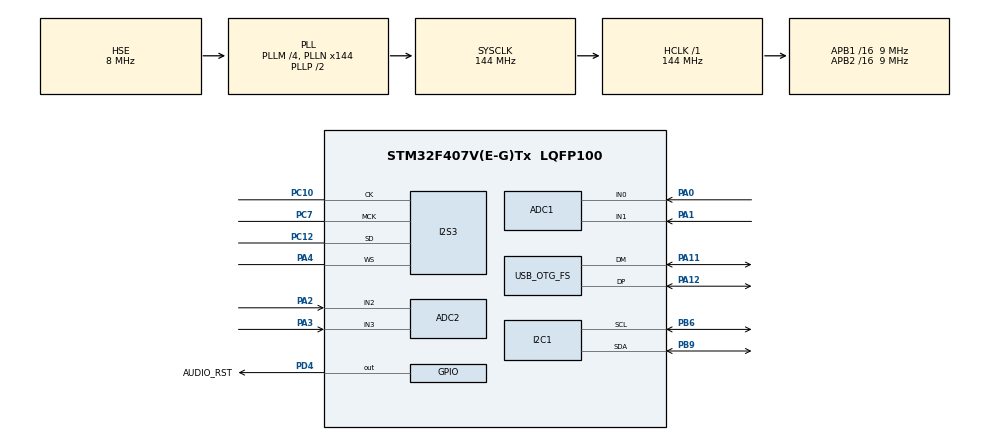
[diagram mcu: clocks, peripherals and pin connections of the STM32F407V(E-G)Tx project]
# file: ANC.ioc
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ADC1.Channel-8\#ChannelRegularConversion=ADC_CHANNEL_0
ADC1.Channel-9\#ChannelRegularConversion=ADC_CHANNEL_1
ADC1.ClockPrescaler=ADC_CLOCK_SYNC_PCLK_DIV8
ADC1.ContinuousConvMode=ENABLE
ADC1.DMAContinuousRequests=ENABLE
ADC1.NbrOfConversion=2
ADC1.NbrOfConversionFlag=1
ADC1.Rank-8\#ChannelRegularConversion=1
ADC1.Rank-9\#ChannelRegularConversion=2
ADC1.SamplingTime-8\#ChannelRegularConversion=ADC_SAMPLETIME_3CYCLES
ADC1.SamplingTime-9\#ChannelRegularConversion=ADC_SAMPLETIME_3CYCLES
ADC1.master=1
ADC2.Channel-2\#ChannelRegularConversion=ADC_CHANNEL_2
ADC2.Channel-3\#ChannelRegularConversion=ADC_CHANNEL_3
ADC2.ClockPrescaler=ADC_CLOCK_SYNC_PCLK_DIV8
ADC2.ContinuousConvMode=ENABLE
ADC2.DMAContinuousRequests=ENABLE
ADC2.NbrOfConversion=2
ADC2.NbrOfConversionFlag=1
ADC2.Rank-2\#ChannelRegularConversion=1
ADC2.Rank-3\#ChannelRegularConversion=2
ADC2.SamplingTime-2\#ChannelRegularConversion=ADC_SAMPLETIME_3CYCLES
ADC2.SamplingTime-3\#ChannelRegularConversion=ADC_SAMPLETIME_3CYCLES
ADC2.ScanConvMode=ENABLE
Dma.ADC1.1.Direction=DMA_PERIPH_TO_MEMORY
Dma.ADC1.1.FIFOMode=DMA_FIFOMODE_DISABLE
Dma.ADC1.1.Instance=DMA2_Stream0
Dma.ADC1.1.MemDataAlignment=DMA_MDATAALIGN_WORD
Dma.ADC1.1.MemInc=DMA_MINC_ENABLE
Dma.ADC1.1.Mode=DMA_CIRCULAR
Dma.ADC1.1.PeriphDataAlignment=DMA_PDATAALIGN_WORD
Dma.ADC1.1.PeriphInc=DMA_PINC_DISABLE
Dma.ADC1.1.Priority=DMA_PRIORITY_LOW
Dma.ADC2.2.Direction=DMA_PERIPH_TO_MEMORY
Dma.ADC2.2.FIFOMode=DMA_FIFOMODE_DISABLE
Dma.ADC2.2.Instance=DMA2_Stream2
Dma.ADC2.2.MemDataAlignment=DMA_MDATAALIGN_WORD
Dma.ADC2.2.MemInc=DMA_MINC_ENABLE
Dma.ADC2.2.Mode=DMA_CIRCULAR
Dma.ADC2.2.PeriphDataAlignment=DMA_PDATAALIGN_WORD
Dma.ADC2.2.PeriphInc=DMA_PINC_DISABLE
Dma.ADC2.2.Priority=DMA_PRIORITY_LOW
Dma.Request0=SPI3_TX
Dma.Request1=ADC1
Dma.Request2=ADC2
Dma.SPI3_TX.0.Direction=DMA_MEMORY_TO_PERIPH
Dma.SPI3_TX.0.FIFOMode=DMA_FIFOMODE_ENABLE
Dma.SPI3_TX.0.FIFOThreshold=DMA_FIFO_THRESHOLD_FULL
Dma.SPI3_TX.0.Instance=DMA1_Stream5
Dma.SPI3_TX.0.MemBurst=DMA_MBURST_SINGLE
Dma.SPI3_TX.0.MemDataAlignment=DMA_MDATAALIGN_HALFWORD
Dma.SPI3_TX.0.MemInc=DMA_MINC_ENABLE
Dma.SPI3_TX.0.Mode=DMA_CIRCULAR
Dma.SPI3_TX.0.PeriphBurst=DMA_PBURST_SINGLE
Dma.SPI3_TX.0.PeriphDataAlignment=DMA_PDATAALIGN_HALFWORD
Dma.SPI3_TX.0.PeriphInc=DMA_PINC_DISABLE
Dma.SPI3_TX.0.Priority=DMA_PRIORITY_LOW
I2S3.AudioFreq=I2S_AUDIOFREQ_44K
I2S3.ErrorAudioFreq=10.97 %
I2S3.FullDuplexMode=I2S_FULLDUPLEXMODE_DISABLE
I2S3.Instance=SPI$Index
I2S3.RealAudioFreq=48.828 KHz
I2S3.VirtualMode=I2S_MODE_MASTER
Mcu.Family=STM32F4
Mcu.Name=STM32F407V(E-G)Tx
Mcu.Package=LQFP100
NVIC.DMA1_Stream5_IRQn=true\:0\:0\:false\:false\:true\:false\:true\:true
NVIC.DMA2_Stream0_IRQn=true\:0\:0\:false\:false\:true\:false\:true\:true
NVIC.DMA2_Stream2_IRQn=true\:0\:0\:false\:false\:true\:false\:true\:true
NVIC.OTG_FS_IRQn=true\:0\:0\:false\:false\:true\:false\:true\:true
NVIC.PriorityGroup=NVIC_PRIORITYGROUP_0
PA0-WKUP.Signal=ADCx_IN0
PA1.Signal=ADCx_IN1
PA11.Mode=Device_Only
PA11.Signal=USB_OTG_FS_DM
PA12.Mode=Device_Only
PA12.Signal=USB_OTG_FS_DP
PA2.Signal=ADCx_IN2
PA3.Signal=ADCx_IN3
PA4.Mode=Half_Duplex_Master
PA4.Signal=I2S3_WS
PB6.Mode=I2C
PB6.Signal=I2C1_SCL
PB9.Mode=I2C
PB9.Signal=I2C1_SDA
PC10.Mode=Half_Duplex_Master
PC10.Signal=I2S3_CK
PC12.Mode=Half_Duplex_Master
PC12.Signal=I2S3_SD
PC7.Mode=Master_Clock_Activated
PC7.Signal=I2S3_MCK
PD4.GPIO_Label=AUDIO_RST
PD4.Signal=GPIO_Output
PH0-OSC_IN.Mode=HSE-External-Oscillator
PH0-OSC_IN.Signal=RCC_OSC_IN
PH1-OSC_OUT.Mode=HSE-External-Oscillator
PH1-OSC_OUT.Signal=RCC_OSC_OUT
ProjectManager.HeapSize=0x200
ProjectManager.StackSize=0x400
ProjectManager.TargetToolchain=STM32CubeIDE
RCC.48MHZClocksFreq_Value=48000000
RCC.AHBFreq_Value=144000000
RCC.APB1CLKDivider=RCC_HCLK_DIV16
RCC.APB1Freq_Value=9000000
RCC.APB1TimFreq_Value=18000000
RCC.APB2CLKDivider=RCC_HCLK_DIV16
RCC.APB2Freq_Value=9000000
RCC.APB2TimFreq_Value=18000000
RCC.CortexFreq_Value=144000000
RCC.HCLKFreq_Value=144000000
RCC.HSE_VALUE=8000000
RCC.HSI_VALUE=16000000
RCC.LSE_VALUE=32768
RCC.PLLI2SN=50
RCC.PLLM=4
RCC.PLLN=144
RCC.PLLQ=6
RCC.SYSCLKFreq_VALUE=144000000
RCC.SYSCLKSource=RCC_SYSCLKSOURCE_PLLCLK
RCC.VCOOutputFreq_Value=288000000
SH.ADCx_IN0.0=ADC1_IN0,IN0
SH.ADCx_IN1.0=ADC1_IN1,IN1
SH.ADCx_IN2.0=ADC2_IN2,IN2
SH.ADCx_IN3.0=ADC2_IN3,IN3
USB_DEVICE.CLASS_NAME_FS=CDC
USB_DEVICE.VirtualMode-CDC_FS=Cdc
USB_DEVICE.VirtualModeFS=Cdc_FS
USB_OTG_FS.VirtualMode=Device_Only
VP_USB_DEVICE_VS_USB_DEVICE_CDC_FS.Mode=CDC_FS
board=STM32F407G-DISC1

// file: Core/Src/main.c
/* USER CODE BEGIN Header */
/**
  ******************************************************************************
  * @file           : main.c
  * @brief          : Main program body
  ******************************************************************************
  * @attention
  *
  * Copyright (c) 2022 STMicroelectronics.
  * All rights reserved.
  *
  * This software is licensed under terms that can be found in the LICENSE file
  * in the root directory of this software component.
  * If no LICENSE file comes with this software, it is provided AS-IS.
  *
  ******************************************************************************
  */
/* USER CODE END Header */
#include "main.h"
#include "usb_device.h"

/* USER CODE BEGIN Includes */
#include "usbd_cdc_if.h"

//defines for DAC (headphones)
#define AUDIO_I2C_ADDR	0x94 //address of built in amplifier
uint16_t i2s_data[2]; // array which will be send by i2s (stereo)
//defines for ADC (microphones)

uint32_t buffer[2]; //buffer for adc_1
uint32_t Outside_buffer[2]; //buffer for adc_2

char data[10] = "ua";

int32_t adc_val[4]; // taking values from buffers to calculating in the begining of the loop
int32_t audio[4]; //values worked on
//Later change for Left and Right [0],[1] inside [2],[3] outside

/* USER CODE END Includes */

ADC_HandleTypeDef hadc1;
ADC_HandleTypeDef hadc2;
DMA_HandleTypeDef hdma_adc1;
DMA_HandleTypeDef hdma_adc2;

I2C_HandleTypeDef hi2c1;

I2S_HandleTypeDef hi2s3;
DMA_HandleTypeDef hdma_spi3_tx;

void SystemClock_Config(void);
static void MX_GPIO_Init(void);
static void MX_DMA_Init(void);
static void MX_I2S3_Init(void);
static void MX_I2C1_Init(void);
static void MX_ADC1_Init(void);
static void MX_ADC2_Init(void);
/* USER CODE BEGIN PFP */

//void HAL_ADC_ConvCpltCallback(ADC_HandleTypeDef* hadc)
//{
//	adc_val[0] = buffer[0];
//	adc_val[1] = buffer[1]; 	//[0],[1] -> inside (microphones inside headphones earcup)
//
//	adc_val[2] = Outside_buffer[0];
//	adc_val[3] = Outside_buffer[1]; 	//[2], [3] -> outside (microphones outside headphones earcup)
//	//need to check if 0 or 1 is left or right
//}

static void cs43l22_write(uint8_t reg, uint8_t value) //writing value to configurate cs43l22
{
	HAL_I2C_Mem_Write(&hi2c1, AUDIO_I2C_ADDR, reg, 1, &value, sizeof(value), HAL_MAX_DELAY);
}

static void cs43l22_init() //setting up amp
{
	HAL_GPIO_WritePin(AUDIO_RST_GPIO_Port, AUDIO_RST_Pin, GPIO_PIN_SET);

	cs43l22_write(0x04, 0xaf);
	cs43l22_write(0x06, 0x07);
	cs43l22_write(0x02, 0x9e);
}

/* USER CODE END PFP */

int main(void)
{

  /* MCU Configuration--------------------------------------------------------*/

  /* Reset of all peripherals, Initializes the Flash interface and the Systick. */
  HAL_Init();

  /* Configure the system clock */
  SystemClock_Config();

  /* Initialize all configured peripherals */
  MX_GPIO_Init();
  MX_DMA_Init();
  MX_I2S3_Init();
  MX_I2C1_Init();
  MX_ADC1_Init();
  MX_ADC2_Init();
  MX_USB_DEVICE_Init();

  /* Infinite loop */
  /* USER CODE BEGIN WHILE */

  cs43l22_init();
  HAL_ADC_Start_DMA(&hadc1, &buffer, 2);
  HAL_ADC_Start_DMA(&hadc2, &Outside_buffer, 2);

  /* variables for the filter */                  // filter lenght
  const float l = 0.9999;
  float y_l, y_r, e_l, e_r;

  float x_l[5] = {0,0,0,0,0};
  float w_l[5] = {0,0,0,0,0};
  float S_l[5][5] = {{100,0,0,0,0},
                     {0,100,0,0,0},
                     {0,0,100,0,0},
                     {0,0,0,100,0},
                     {0,0,0,0,100}};

  float psi_l[5] = {0,0,0,0,0};
  float inner_l = 0;
  float outer_psi_l[5][5] = {{0,0,0,0,0},
                             {0,0,0,0,0},
                             {0,0,0,0,0},
                             {0,0,0,0,0},
                             {0,0,0,0,0}};

  float x_r[5] = {0,0,0,0,0};
  float w_r[5] = {0,0,0,0,0};
  float S_r[5][5] = {{100,0,0,0,0},
                     {0,100,0,0,0},
                     {0,0,100,0,0},
                     {0,0,0,100,0},
                     {0,0,0,0,100}};

  float psi_r[5] = {0,0,0,0,0};
  float inner_r = 0;
  float outer_psi_r[5][5] = {{0,0,0,0,0},
                             {0,0,0,0,0},
                             {0,0,0,0,0},
                             {0,0,0,0,0},
                             {0,0,0,0,0}};

  while (1)
  {
	  for(int i =0; i<2; i++)
	  {
		  audio[i] = ((buffer[i] - 2048) << 4); // conversion first ADC return only positive value, while i2s accept negative so we need to remove half of the value, second conversion 12bit -> 16 bit
		  audio[i+2] = ((Outside_buffer[i]-2048) <<4);
	  }
	  //PLACE FOR FILTER
    /*
    audio[0] -> error left channel
    audio[1] -> error right channel
    audio[2] -> noise left channel
    audio[3]-> noise right channel
    */

    // insert new sample
    for(int i = 4; i > 0; i--){
        x_l[i] = x_l[i - 1];
        x_r[i] = x_r[i - 1];
    }
    x_l[0] = audio[2];
    x_r[0] = audio[3];

    // estimate filter output
    y_l = y_r = 0;

    for(int i = 0; i < 5; i++){
        y_l+=x_l[i]*w_l[i];
        y_r+=x_r[i]*w_r[i];
    }
    e_l = audio[0] - y_l;
    e_r = audio[0] - y_r;

    // update filter coefficient
    inner_l = inner_r = 0;

    for(int i = 0; i < 5; i++){
      psi_l[i] = 0;
      psi_r[i] = 0;
        for(int j = 0; j < 5; j++){
            psi_l[i]+=S_l[i][j]*x_l[j];   // psi = S@x
            psi_r[i]+=S_r[i][j]*x_r[j];
        }
        inner_l += psi_l[i]*x_l[i]; // inner
        inner_r += psi_r[i]*x_r[i];
    }

    for(int i = 0; i < 5; i++){
        for(int j=0;j<5;j++){
            outer_psi_l[i][j] = psi_l[i] * psi_l[j] / (inner_l + l);   // outer = outer/(l+inner)
            S_l[i][j] = (S_l[i][j] - outer_psi_l[i][j])/l;               // S = (S - outer)/l
            w_l[i]+=S_l[i][j]*x_l[j]*e_l;                                  // w += e * (S@x)

            outer_psi_r[i][j] = psi_r[i] * psi_r[j] / (inner_r + l);   // outer = outer/(l+inner)
            S_r[i][j] = (S_r[i][j] - outer_psi_r[i][j])/l;               // S = (S - outer)/l
            w_r[i]+=S_r[i][j]*x_r[j]*e_r;
        }
    }

	  //PLACE FOR FILTER ENDED
	  i2s_data[0] = audio[2]; //inserting samples to array sent to amplifier
	  i2s_data[1] = audio[3];
	  HAL_I2S_Transmit_DMA(&hi2s3,  i2s_data, 2); //transmit data to cs43122
	  CDC_Transmit_FS((uint8_t *) i2s_data, strlen(i2s_data)); //dokonczyc
	  HAL_Delay(100); //wywalic
    /* USER CODE END WHILE */

  }
}

void SystemClock_Config(void)
{
  RCC_OscInitTypeDef RCC_OscInitStruct = {0};
  RCC_ClkInitTypeDef RCC_ClkInitStruct = {0};

  /** Configure the main internal regulator output voltage
  */
  __HAL_RCC_PWR_CLK_ENABLE();
  __HAL_PWR_VOLTAGESCALING_CONFIG(PWR_REGULATOR_VOLTAGE_SCALE1);

  /** Initializes the RCC Oscillators according to the specified parameters
  * in the RCC_OscInitTypeDef structure.
  */
  RCC_OscInitStruct.OscillatorType = RCC_OSCILLATORTYPE_HSE;
  RCC_OscInitStruct.HSEState = RCC_HSE_ON;
  RCC_OscInitStruct.PLL.PLLState = RCC_PLL_ON;
  RCC_OscInitStruct.PLL.PLLSource = RCC_PLLSOURCE_HSE;
  RCC_OscInitStruct.PLL.PLLM = 4;
  RCC_OscInitStruct.PLL.PLLN = 144;
  RCC_OscInitStruct.PLL.PLLP = RCC_PLLP_DIV2;
  RCC_OscInitStruct.PLL.PLLQ = 6;
  if (HAL_RCC_OscConfig(&RCC_OscInitStruct) != HAL_OK)
  {
    Error_Handler();
  }

  /** Initializes the CPU, AHB and APB buses clocks
  */
  RCC_ClkInitStruct.ClockType = RCC_CLOCKTYPE_HCLK|RCC_CLOCKTYPE_SYSCLK
                              |RCC_CLOCKTYPE_PCLK1|RCC_CLOCKTYPE_PCLK2;
  RCC_ClkInitStruct.SYSCLKSource = RCC_SYSCLKSOURCE_PLLCLK;
  RCC_ClkInitStruct.AHBCLKDivider = RCC_SYSCLK_DIV1;
  RCC_ClkInitStruct.APB1CLKDivider = RCC_HCLK_DIV16;
  RCC_ClkInitStruct.APB2CLKDivider = RCC_HCLK_DIV16;

  if (HAL_RCC_ClockConfig(&RCC_ClkInitStruct, FLASH_LATENCY_4) != HAL_OK)
  {
    Error_Handler();
  }
}

static void MX_ADC1_Init(void)
{

  ADC_ChannelConfTypeDef sConfig = {0};

  /** Configure the global features of the ADC (Clock, Resolution, Data Alignment and number of conversion)
  */
  hadc1.Instance = ADC1;
  hadc1.Init.ClockPrescaler = ADC_CLOCK_SYNC_PCLK_DIV8;
  hadc1.Init.Resolution = ADC_RESOLUTION_12B;
  hadc1.Init.ScanConvMode = ENABLE;
  hadc1.Init.ContinuousConvMode = ENABLE;
  hadc1.Init.DiscontinuousConvMode = DISABLE;
  hadc1.Init.ExternalTrigConvEdge = ADC_EXTERNALTRIGCONVEDGE_NONE;
  hadc1.Init.ExternalTrigConv = ADC_SOFTWARE_START;
  hadc1.Init.DataAlign = ADC_DATAALIGN_RIGHT;
  hadc1.Init.NbrOfConversion = 2;
  hadc1.Init.DMAContinuousRequests = ENABLE;
  hadc1.Init.EOCSelection = ADC_EOC_SINGLE_CONV;
  if (HAL_ADC_Init(&hadc1) != HAL_OK)
  {
    Error_Handler();
  }

  /** Configure for the selected ADC regular channel its corresponding rank in the sequencer and its sample time.
  */
  sConfig.Channel = ADC_CHANNEL_0;
  sConfig.Rank = 1;
  sConfig.SamplingTime = ADC_SAMPLETIME_3CYCLES;
  if (HAL_ADC_ConfigChannel(&hadc1, &sConfig) != HAL_OK)
  {
    Error_Handler();
  }

  /** Configure for the selected ADC regular channel its corresponding rank in the sequencer and its sample time.
  */
  sConfig.Channel = ADC_CHANNEL_1;
  sConfig.Rank = 2;
  if (HAL_ADC_ConfigChannel(&hadc1, &sConfig) != HAL_OK)
  {
    Error_Handler();
  }

}

static void MX_ADC2_Init(void)
{

  ADC_ChannelConfTypeDef sConfig = {0};

  /** Configure the global features of the ADC (Clock, Resolution, Data Alignment and number of conversion)
  */
  hadc2.Instance = ADC2;
  hadc2.Init.ClockPrescaler = ADC_CLOCK_SYNC_PCLK_DIV8;
  hadc2.Init.Resolution = ADC_RESOLUTION_12B;
  hadc2.Init.ScanConvMode = ENABLE;
  hadc2.Init.ContinuousConvMode = ENABLE;
  hadc2.Init.DiscontinuousConvMode = DISABLE;
  hadc2.Init.ExternalTrigConvEdge = ADC_EXTERNALTRIGCONVEDGE_NONE;
  hadc2.Init.ExternalTrigConv = ADC_SOFTWARE_START;
  hadc2.Init.DataAlign = ADC_DATAALIGN_RIGHT;
  hadc2.Init.NbrOfConversion = 2;
  hadc2.Init.DMAContinuousRequests = ENABLE;
  hadc2.Init.EOCSelection = ADC_EOC_SINGLE_CONV;
  if (HAL_ADC_Init(&hadc2) != HAL_OK)
  {
    Error_Handler();
  }

  /** Configure for the selected ADC regular channel its corresponding rank in the sequencer and its sample time.
  */
  sConfig.Channel = ADC_CHANNEL_2;
  sConfig.Rank = 1;
  sConfig.SamplingTime = ADC_SAMPLETIME_3CYCLES;
  if (HAL_ADC_ConfigChannel(&hadc2, &sConfig) != HAL_OK)
  {
    Error_Handler();
  }

  /** Configure for the selected ADC regular channel its corresponding rank in the sequencer and its sample time.
  */
  sConfig.Channel = ADC_CHANNEL_3;
  sConfig.Rank = 2;
  if (HAL_ADC_ConfigChannel(&hadc2, &sConfig) != HAL_OK)
  {
    Error_Handler();
  }

}

static void MX_I2C1_Init(void)
{

  hi2c1.Instance = I2C1;
  hi2c1.Init.ClockSpeed = 100000;
  hi2c1.Init.DutyCycle = I2C_DUTYCYCLE_2;
  hi2c1.Init.OwnAddress1 = 0;
  hi2c1.Init.AddressingMode = I2C_ADDRESSINGMODE_7BIT;
  hi2c1.Init.DualAddressMode = I2C_DUALADDRESS_DISABLE;
  hi2c1.Init.OwnAddress2 = 0;
  hi2c1.Init.GeneralCallMode = I2C_GENERALCALL_DISABLE;
  hi2c1.Init.NoStretchMode = I2C_NOSTRETCH_DISABLE;
  if (HAL_I2C_Init(&hi2c1) != HAL_OK)
  {
    Error_Handler();
  }

}

static void MX_I2S3_Init(void)
{

  hi2s3.Instance = SPI3;
  hi2s3.Init.Mode = I2S_MODE_MASTER_TX;
  hi2s3.Init.Standard = I2S_STANDARD_PHILIPS;
  hi2s3.Init.DataFormat = I2S_DATAFORMAT_16B;
  hi2s3.Init.MCLKOutput = I2S_MCLKOUTPUT_ENABLE;
  hi2s3.Init.AudioFreq = I2S_AUDIOFREQ_44K;
  hi2s3.Init.CPOL = I2S_CPOL_LOW;
  hi2s3.Init.ClockSource = I2S_CLOCK_PLL;
  hi2s3.Init.FullDuplexMode = I2S_FULLDUPLEXMODE_DISABLE;
  if (HAL_I2S_Init(&hi2s3) != HAL_OK)
  {
    Error_Handler();
  }

}

static void MX_DMA_Init(void)
{

  /* DMA controller clock enable */
  __HAL_RCC_DMA1_CLK_ENABLE();
  __HAL_RCC_DMA2_CLK_ENABLE();

  /* DMA interrupt init */
  /* DMA1_Stream5_IRQn interrupt configuration */
  HAL_NVIC_SetPriority(DMA1_Stream5_IRQn, 0, 0);
  HAL_NVIC_EnableIRQ(DMA1_Stream5_IRQn);
  /* DMA2_Stream0_IRQn interrupt configuration */
  HAL_NVIC_SetPriority(DMA2_Stream0_IRQn, 0, 0);
  HAL_NVIC_EnableIRQ(DMA2_Stream0_IRQn);
  /* DMA2_Stream2_IRQn interrupt configuration */
  HAL_NVIC_SetPriority(DMA2_Stream2_IRQn, 0, 0);
  HAL_NVIC_EnableIRQ(DMA2_Stream2_IRQn);

}

static void MX_GPIO_Init(void)
{
  GPIO_InitTypeDef GPIO_InitStruct = {0};

  /* GPIO Ports Clock Enable */
  __HAL_RCC_GPIOH_CLK_ENABLE();
  __HAL_RCC_GPIOA_CLK_ENABLE();
  __HAL_RCC_GPIOC_CLK_ENABLE();
  __HAL_RCC_GPIOD_CLK_ENABLE();
  __HAL_RCC_GPIOB_CLK_ENABLE();

  /*Configure GPIO pin Output Level */
  HAL_GPIO_WritePin(AUDIO_RST_GPIO_Port, AUDIO_RST_Pin, GPIO_PIN_RESET);

  /*Configure GPIO pin : AUDIO_RST_Pin */
  GPIO_InitStruct.Pin = AUDIO_RST_Pin;
  GPIO_InitStruct.Mode = GPIO_MODE_OUTPUT_PP;
  GPIO_InitStruct.Pull = GPIO_NOPULL;
  GPIO_InitStruct.Speed = GPIO_SPEED_FREQ_LOW;
  HAL_GPIO_Init(AUDIO_RST_GPIO_Port, &GPIO_InitStruct);

}

void Error_Handler(void)
{
  __disable_irq();
  while (1)
  {
  }
}
